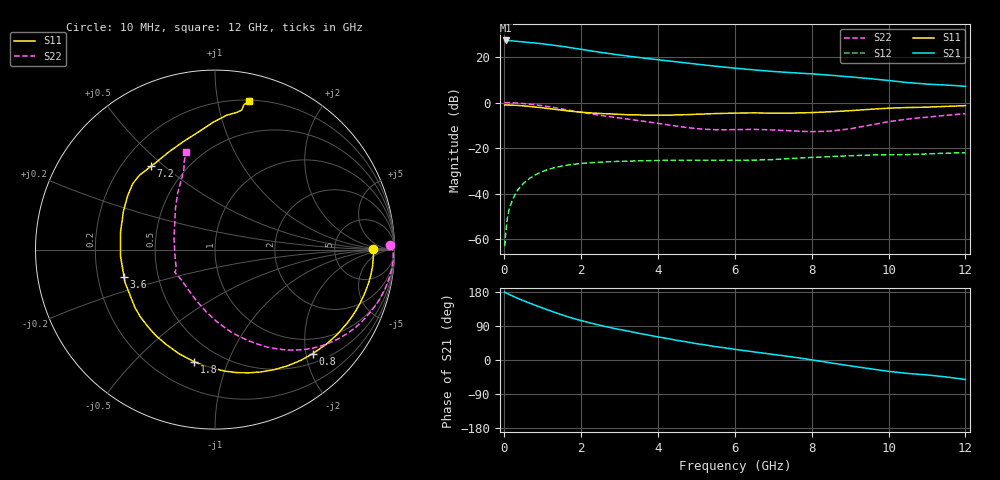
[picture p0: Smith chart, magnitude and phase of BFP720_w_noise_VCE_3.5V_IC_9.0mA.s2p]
! Infineon Technologies  Discrete & RF Semiconductors
! BFP720
! VCE =  3.5 V,  IC =  9.0 mA
! Common Emitter S-Parameters:  Aug 2012
# GHz  S  MA  R  50
!  f  S11  S21  S12  S22
! GHz  MAG  ANG  MAG  ANG  MAG  ANG  MAG  ANG
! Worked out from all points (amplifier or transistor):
!   105 points, 10 MHz to 12 GHz, reference 50 ohm
!   highest |S21| = 27.3 dB at 50 MHz (marker M1)
!   |S21| within 3 dB of that: start of sweep to 1.669 GHz
!   unconditionally stable (mu >= 1): start of sweep to 11.56 MHz; 5.662 GHz to 11.22 GHz
!   at 300 MHz: K = 0.09, MSG = 33.4 dB, |S12| = -39.8 dB
!   at 3.6 GHz: K = 0.67, MSG = 22.6 dB, |S12| = -25.6 dB
!   at 12 GHz: K = 0.79, MSG = 14.6 dB, |S12| = -22.1 dB
!   lowest NFmin = 0.50 dB at 450 MHz
!   S11 on the Smith chart (normalised r, x): 10 MHz: 16, +0; 800 MHz: 0.68, -2.14; 1.8 GHz: 0.37, -0.77; 3.6 GHz: 0.31, -0.13; 7.2 GHz: 0.32, +0.45; 12 GHz: 0.20, +1.24
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0.01  0.8808 0.1  22.94 179.6  0.0007 -20.3  0.9737 1.4
0.02  0.8844 -1.1  22.87 178.0  0.0008 87.5  0.9922 -0.5
0.05  0.8824 -2.9  23.05 176.7  0.0017 84.0  0.9934 -1.7
0.25  0.8715 -14.8  22.4 167.3  0.0084 80.0  0.9832 -9.5
0.45  0.849 -26.3  21.57 158.5  0.0151 74.3  0.9575 -16.9
0.8  0.7957 -46.7  20.32 144.6  0.0255 63.8  0.8941 -29.2
1.1  0.7464 -63.6  18.95 133.4  0.0329 55.1  0.8242 -39.0
1.3  0.7118 -74.7  18.03 126.2  0.0369 49.8  0.7745 -45.1
1.6  0.6619 -90.8  16.67 115.8  0.0416 42.8  0.6993 -53.2
1.8  0.6354 -100.4  15.68 109.7  0.0439 38.7  0.6519 -58.0
2.1  0.6024 -113.1  14.28 101.5  0.0466 33.4  0.5902 -64.4
2.4  0.5813 -124.6  13.05 93.8  0.0485 29.0  0.5381 -70.2
2.8  0.5598 -138.0  11.66 84.7  0.0504 24.3  0.4817 -77.1
3.6  0.5292 -163.3  9.546 68.6  0.0526 17.3  0.3898 -90.4
4.1  0.5265 -179.0  8.517 59.2  0.0534 13.9  0.3387 -100.3
5  0.5529 157.4  6.977 43.1  0.054 9.2  0.2674 -124.4
6.1  0.5875 140.1  5.584 26.8  0.0539 6.8  0.2545 -147.3
7.2  0.5851 127.5  4.684 12.1  0.0572 7.4  0.2451 -153.1
8.5  0.6266 106.5  3.961 -7.7  0.0649 3.3  0.2363 165.3
9.5  0.707 91.2  3.353 -22.8  0.0702 -1.7  0.3166 134.2
10.5  0.7753 80.8  2.737 -35.4  0.0719 -6.4  0.4331 115.6
12  0.8517 77.0  2.271 -51.5  0.0787 -13.8  0.5679 106.3
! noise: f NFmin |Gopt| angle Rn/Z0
0.45  0.5  0.31  1  0.2
1.8  0.56  0.29  20  0.12
2.4  0.62  0.24  42  0.27
5.5  0.76  0.12  33  0.15
10  0.95  0.4  -81  0.22
